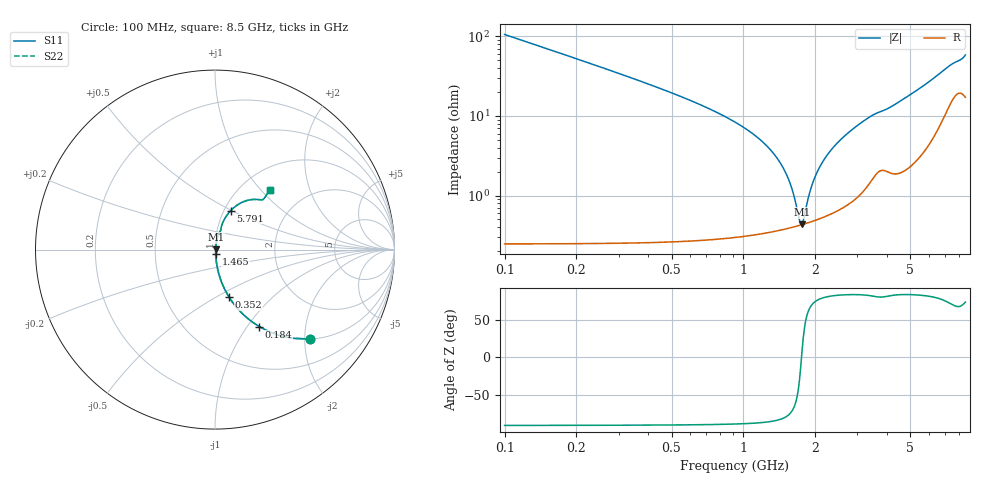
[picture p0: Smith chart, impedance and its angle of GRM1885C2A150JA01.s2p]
!Murata Part Number: GRM1885C2A150JA01
!These Parameters are Measured in Series Mode Connection
!Data Generated on Mar 30, 2021
!  o--ll--o
!Port1  Port2
!  o------o
!Operation Temp=25[degC], DC Bias Voltage=0[V]
!Freq. Start=100[MHz] Stop=9[GHz] 401[Steps]
# Hz S RI R 50
!Freq.(Hz) S11(Real) S11(Imag) S21(Real) S21(Imag) S12(Real) S12(Imag) S22(Real) S22(Imag)
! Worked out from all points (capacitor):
!   401 points, 100 MHz to 8.5 GHz, reference 50 ohm
!   read as one part in series: C = 15 pF near 142 MHz
!   lowest |Z| = 434 mohm at 1.759 GHz (marker M1)
!   series resonance near 1.751 GHz, so ESL is about 550 pH
!   S11 on the Smith chart (normalised r, x): 100 MHz: 1.00, -2.12; 184 MHz: 1.00, -1.14; 352 MHz: 1.01, -0.58; 1.465 GHz: 1.01, -0.04; 5.791 GHz: 1.08, +0.50; 8.5 GHz: 1.34, +1.12
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1e8  0.5279 -0.4981  0.4721 0.4981  0.4721 0.4981  0.5279 -0.4981
1.84e8  0.2465 -0.4288  0.7535 0.4288  0.7535 0.4288  0.2465 -0.4288
2.47e8  0.1522 -0.3562  0.8478 0.3562  0.8478 0.3562  0.1522 -0.3562
3.52e8  0.0793 -0.2659  0.9207 0.2659  0.9207 0.2659  0.0793 -0.2659
6.67e8  0.0209 -0.1333  0.9791 0.1333  0.9791 0.1333  0.0209 -0.1333
1.192e9  0.0056 -0.0479  0.9944 0.0479  0.9944 0.0479  0.0056 -0.0479
1.465e9  0.0042 -0.0219  0.9958 0.0219  0.9958 0.0219  0.0042 -0.0219
1.507e9  0.00413 -0.0185  0.9959 0.0185  0.9959 0.0185  0.00413 -0.0185
1.591e9  0.00408 -0.0118  0.9959 0.0118  0.9959 0.0118  0.00408 -0.0118
1.717e9  0.0042 -0.00239  0.9958 0.00239  0.9958 0.00239  0.0042 -0.00239
1.759e9  0.00428 0.00059  0.9957 -0.00059  0.9957 -0.00059  0.00428 0.00059
1.948e9  0.0049 0.0133  0.9951 -0.0133  0.9951 -0.0133  0.0049 0.0133
2.137e9  0.00586 0.0251  0.9941 -0.0251  0.9941 -0.0251  0.00586 0.0251
2.452e9  0.00819 0.0435  0.9918 -0.0435  0.9918 -0.0435  0.00819 0.0435
2.914e9  0.0135 0.0688  0.9865 -0.0688  0.9865 -0.0688  0.0135 0.0688
3.46e9  0.0251 0.0962  0.9749 -0.0962  0.9749 -0.0962  0.0251 0.0962
4.3e9  0.036 0.1304  0.964 -0.1304  0.964 -0.1304  0.036 0.1304
5.707e9  0.0837 0.2126  0.9163 -0.2126  0.9163 -0.2126  0.0837 0.2126
5.791e9  0.0883 0.2177  0.9117 -0.2177  0.9117 -0.2177  0.0883 0.2177
7.114e9  0.2004 0.2783  0.7996 -0.2783  0.7996 -0.2783  0.2004 0.2783
7.996e9  0.27 0.2808  0.73 -0.2808  0.73 -0.2808  0.27 0.2808
8.5e9  0.3046 0.3317  0.6954 -0.3317  0.6954 -0.3317  0.3046 0.3317
